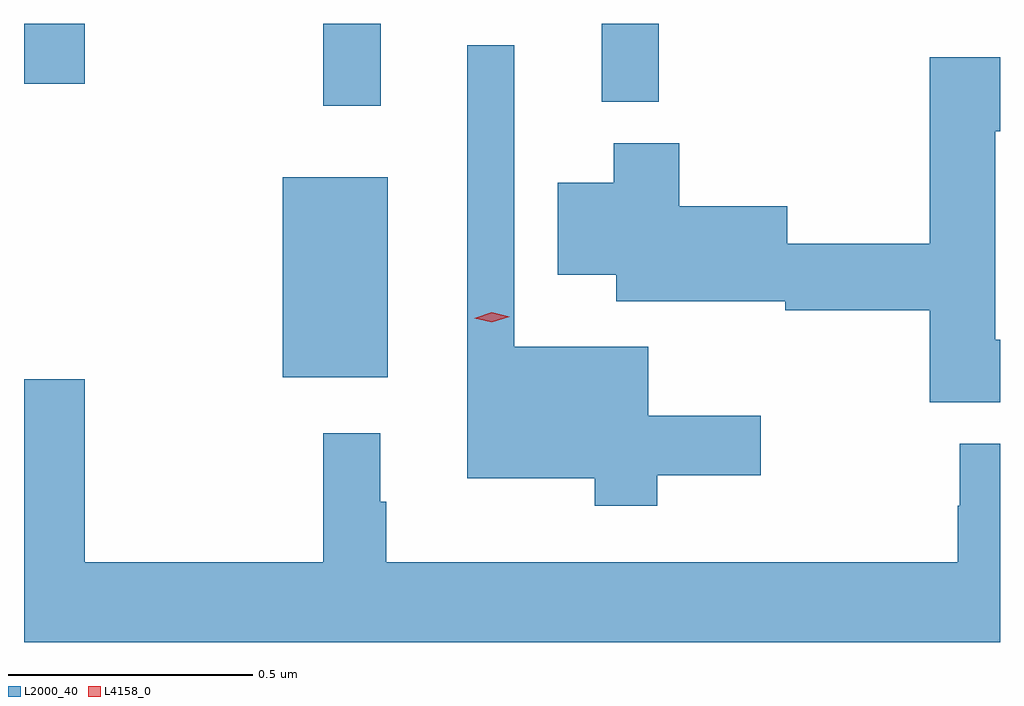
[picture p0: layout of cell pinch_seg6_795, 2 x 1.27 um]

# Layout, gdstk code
import gdstk
lib = gdstk.Library(unit=1e-6, precision=1e-09)
def R(c, l, rs):  # rectangles x0, y0, x1, y1
    for r in rs: c.add(gdstk.rectangle(r[:2], r[2:], *l))
def P(c, l, *ps):  # polygons
    for p in ps: c.add(gdstk.Polygon(p, *l))
L2000_40 = (2000, 40)
L4158_0 = (4158, 0)

pinch_seg6_795 = lib.new_cell('pinch_seg6_795')
R(pinch_seg6_795, L2000_40, [(309.434,986.507,309.649,986.917), (309.517,987.063,309.635,987.231), (310.088,987.071,310.205,987.231), (308.904,987.108,309.028,987.231)])
P(pinch_seg6_795, L2000_40, [(310.202,986.306),(310.414,986.306),(310.414,986.428),(310.183,986.428),(310.183,986.569),(309.909,986.569),(309.909,987.187),(309.812,987.187),(309.812,986.3),(310.074,986.3),(310.074,986.243),(310.202,986.243)],
  [(310.904,986.584),(310.894,986.584),(310.894,987.011),(310.904,987.011),(310.904,987.163),(310.76,987.163),(310.76,986.78),(310.468,986.78),(310.468,986.857),(310.247,986.857),(310.247,986.986),(310.112,986.986),(310.112,986.905),(309.998,986.905),(309.998,986.717),(310.118,986.717),(310.118,986.663),(310.464,986.663),(310.464,986.644),(310.76,986.644),(310.76,986.456),(310.904,986.456)],
  [(310.904,986.371),(310.822,986.371),(310.822,986.244),(310.817,986.244),(310.817,986.128),(309.646,986.128),(309.646,986.252),(309.634,986.252),(309.634,986.392),(309.517,986.392),(309.517,986.128),(309.028,986.128),(309.028,986.503),(308.904,986.503),(308.904,985.964),(310.904,985.964)])
P(pinch_seg6_795, L4158_0, [(309.863,986.62),(309.827,986.628),(309.827,986.628),(309.827,986.628),(309.863,986.64),(309.899,986.631),(309.899,986.631),(309.899,986.631)])

lib.write_gds('pinch_seg6_795.gds')
